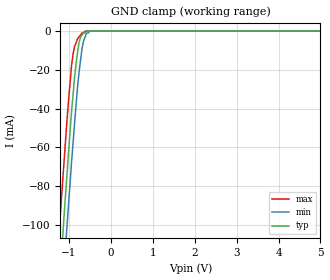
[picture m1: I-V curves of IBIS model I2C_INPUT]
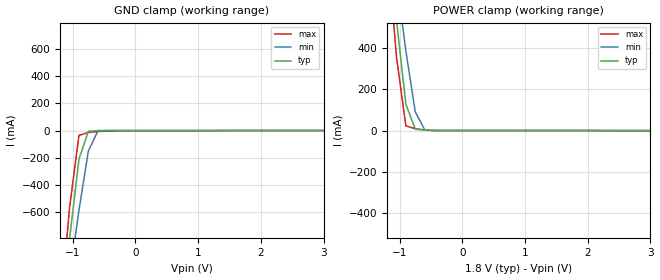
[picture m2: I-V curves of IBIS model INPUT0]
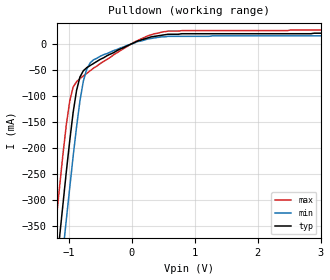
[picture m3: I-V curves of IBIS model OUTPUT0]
[IBIS ver]   3.2
[File name]   adv7511.ibs
[File Rev]   0
[Date]   11/23/2010
[Notes]   DC SWEEPS FROM SIMULATIONS
   TIMING DATA FROM BENCH MEASUREDMENTS
[Disclaimer]
 The data presented in this model is not guaranteed in any way.
 This file is for modeling purposes only and Analog Devices can
  not be held responsible for any damages done as a result of any
  information contained within this model. Any risk as to quality
  and performance is with the customer. IN NO EVENT SHALL ANALOG
  DEVICES BE LIABLE FOR ANY DAMAGES, WHETHER IN CONTRACT OR
  TORT,INCLUDING ANY LOST PROFITS OR OTHER INCIDENTAL,
  CONSEQUENTIAL, EXEMPLARY, OR PUNITIVE DAMAGES ARISING OUT
  OF THE USE OR APPLICATION OF THE IBIS MODEL PROVIDED in
  this file.
 Analog Devices reserves the right to modify this model at any
  time without notice to improve performance, reliability, or
  design.
[Component]   ADV7511
Si_location   Die
Timing_location  Pin
[Manufacturer]  Analog Devices
[Package]
|   typ   min   max
R_pkg   103m   NA   NA
L_pkg   5.4nH   NA   NA
C_pkg   0.28pF   NA   NA
[Pin]   signal_name   model_name
1   DVDD   POWER
2   VSYNC   INPUT0
3   DSD0   INPUT0
4   DSD1   INPUT0
5   DSD2   INPUT0
6   DSD3   INPUT0
7   DSD4   INPUT0
8   DSD5   INPUT0
9   DSD_CLK   INPUT0
10   SPDIF   INPUT0
11   MCLK   INPUT0
12   I2S0   INPUT0
13   I2S1   INPUT0
14   I2S2   INPUT0
15   IS23   INPUT0
16   SCLK   INPUT0
17   LRCLK   INPUT0
18   GND   GND
19   DVDD   POWER
20   GND   GND
21   PVDD   POWER
22   GND   GND
23   GND   GND
24   PVDD   POWER
25   PVDD   POWER
26   BGVDD   POWER
27   GND   GND
28   R_EXT   NC
29   AVDD   POWER
30   HPD   INPUT0
31   GND   GND
32   TXC-   TMDS_OUT
33   TXC+   TMDS_OUT
34   AVDD   POWER
35   TX0-   TMDS_OUT
36   TX0+   TMDS_OUT
37   GND   GND
38   PD   INPUT0
39   TX1-   TMDS_OUT
40   TX1+   TMDS_OUT
41   AVDD   POWER
42   TX2-   TMDS_OUT
43   TX2+   TMDS_OUT
44   GND   GND
45   INT   OUTPUT0
46   SPDIF_OUT   OUTPUT0
47   DVDD_3V   POWER
48   CEC_IN   I2C_IO
49   DVDD   POWER
50   CEC_CLK   INPUT0
51   HEAC-   INPUT0
52   HEAC+   INPUT0
53   DDCSCL   I2C_INPUT
54   DDCSDA   I2C_IO
55   SCL   I2C_INPUT
56   SDA   I2C_IO
57   D35   INPUT0
58   D34   INPUT0
59   D33   INPUT0
60   D32   INPUT0
61   D31   INPUT0
62   D30   INPUT0
63   D29   INPUT0
64   D28   INPUT0
65   D27   INPUT0
66   D26   INPUT0
67   D25   INPUT0
68   D24   INPUT0
69   D23   INPUT0
70   D22   INPUT0
71   D21   INPUT0
72   D20   INPUT0
73   D19   INPUT0
74   D18   INPUT0
75   GND   GND
76   DVDD   POWER
77   DVDD   POWER
78   D17   INPUT0
79   CLK   INPUT0
80   D16   INPUT0
81   D15   INPUT0
82   D14   INPUT0
83   D13   INPUT0
84   D12   INPUT0
85   D11   INPUT0
86   D10   INPUT0
87   D9   INPUT0
88   D8   INPUT0
89   D7   INPUT0
90   D6   INPUT0
91   D5   INPUT0
92   D4   INPUT0
93   D3   INPUT0
94   D2   INPUT0
95   D1   INPUT0
96   D0   INPUT0
97   DE   INPUT0
98   HSYNC   INPUT0
99   GND   GND
100   GND   GND
[Diff Pin]  inv_pin  vdiff  tdelay_typ tdelay_min tdelay_max
33   32   800m   NA   NA   NA
36   35   800m   NA   NA   NA
40   39   800m   NA   NA   NA
43   42   800m   NA   NA   NA
| Models and submodels in the file (5): I2C_INPUT (Input), INPUT0 (Input), OUTPUT0 (Open_drain), I2C_IO (I/O_open_drain), TMDS_OUT (Open_drain)
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[Model] I2C_INPUT
Model_type   Input
Vinl = 1.5V
Vinh = 3.0V
Polarity   Non-Inverting
C_comp   3pF  3pF   3pF
[Voltage Range]  5.0   1.71   5.50
[Temperature Range]  25  -40   85
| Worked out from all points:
|   GND clamp passes 1 mA (typ) near -0.61 V on its own axis
[GND_Clamp]
|V   I(typ)   I(min)   I(max)
-1.8V     -324mA     -351mA     -296mA
-1.224V   -131mA     -159mA     -102mA
-1.152V   -108mA     -135mA     -79mA
-1.116V   -96mA      -124mA     -68mA
-1.044V   -74mA      -101mA     -46mA
-936mV    -42mA      -68mA      -18mA
-900mV    -33mA      -58mA      -12mA
-792mV    -11mA      -29mA      -4mA
-684mV    -2mA       -9mA       -1mA
-576mV    0A         -1mA       0A
-504mV    0A         0A         0A
5V        0A         0A         0A
[Model] INPUT0
Model_type   Input
Polarity   Non-Inverting
Vinl = 0.7V
Vinh = 1.4V
C_comp   3pF  3pF   3pF
[Voltage Range]  1.8   1.71   3.6
[Temperature Range]  25  -40   85
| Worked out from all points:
|   GND clamp passes 1 mA (typ) near -0.62 V on its own axis
|   POWER clamp passes 1 mA (typ) near -0.55 V on its own axis
[GND_Clamp]
| Voltage   I(typ)   I(min)   I(max)
-3.6V     -11.43A    -9.438A    -13.77A
-1.2V     -1.424A    -1.57A     -1.344A
-1.05V    -799.2mA   -1.079A    -568.6mA
-900mV    -209.8mA   -588mA     -35.87mA
-750mV    -5.597mA   -150.4mA   -14.38mA
3.6V      842nA      3.764mA    324.8pA
3.75V     75.83uA    90.62mA    591.5pA
4.05V     6.568mA    738.1mA    117.6uA
4.2V      127.7mA    1.093A     2.637mA
4.5V      986.5mA    1.802A     22.14mA
4.8V      1.887A     2.512A     913.9mA
7.2V      9.093A     8.189A     9.864A
[Power Clamp]
| Note: Vtable = VDD - Vpin
| Voltage   I(typ)   I(min)   I(max)
-3.6V     8.192A     6.77A      9.864A
-1.2V     986.5mA    1.093A     913.9mA
-1.05V    536.2mA    738.1mA    358.5mA
-900mV    127.7mA    386mA      22.14mA
-750mV    6.568mA    90.62mA    8.935mA
3.6V      -135.7nA   -4.74mA    -3.53mA
3.9V      -417.1uA   -588mA     -4.173mA
4.05V     -5.597mA   -1.079A    -4.612mA
4.35V     -799.2mA   -2.06A     -14.38mA
4.5V      -1.424A    -2.551A    -35.87mA
4.65V     -2.048A    -3.043A    -568.6mA
7.2V      -12.68A    -11.41A    -13.77A
[Model] OUTPUT0
Model_type   Open_drain
Polarity   Non-Inverting
Vmeas=1.8
Vref=1.8
Rref=38.5
C_comp   3pF  3pF   3pF
[Voltage Range]  1.8   1.71   1.89
[Temperature Range]  25  -40   85
[Ramp]
dV/dt_r   1.05V/284.8ps   NA   NA
dV/dt_f   1.2V/286ps   NA   NA
R_load = 38.5Ohm
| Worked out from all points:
|   slope of the pulldown table from 0 to 0.27 V, typ, clamps not added: 23.1 ohm
[Pulldown]
|V   I(typ)   I(min)   I(max)
-1.8V     -1.129A    -1.198A    -1.057A
-1.26V    -497mA     -583mA     -405mA
-1.206V   -434mA     -521mA     -339mA
-1.152V   -371mA     -460mA     -275mA
-1.098V   -308mA     -399mA     -212mA
-1.044V   -245mA     -337mA     -155mA
-990mV    -186mA     -276mA     -110mA
-882mV    -90mA      -160mA     -73mA
-774mV    -52mA      -72mA      -62mA
-612mV    -38mA      -31mA      -47mA
576mV     18mA       14mA       24mA
3.6V      20mA       15mA       26mA
